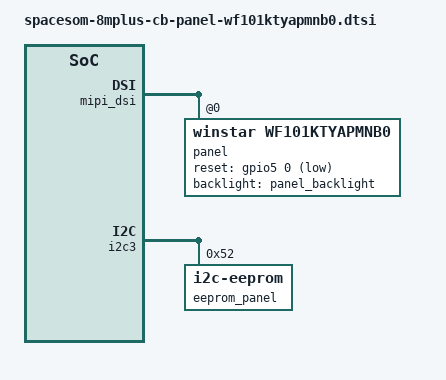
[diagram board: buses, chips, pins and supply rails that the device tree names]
// SPDX-License-Identifier: (GPL-2.0+ OR MIT)
/*
 * Copyright 2022 SomLabs Astar
 *
 */

&mipi_dsi {
        status = "okay";

        panel@0 {

                reg = <0>;
                pinctrl-names = "default";
                pinctrl-0 = <&pinctrl_panel_reset>;
                reset-gpios = <&gpio5 0 GPIO_ACTIVE_LOW>;
                compatible = "winstar,wf101ktyapmnb0";
                backlight = <&panel_backlight>;
                status = "okay";
    };
};

&i2c3 {
        eeprom_panel: eeprom@52 {
                compatible = "i2c-eeprom", "atmel,24c64";
 		pagesize = <32>;
		address-width = <16>;
 		reg = <0x52>;
        };
};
